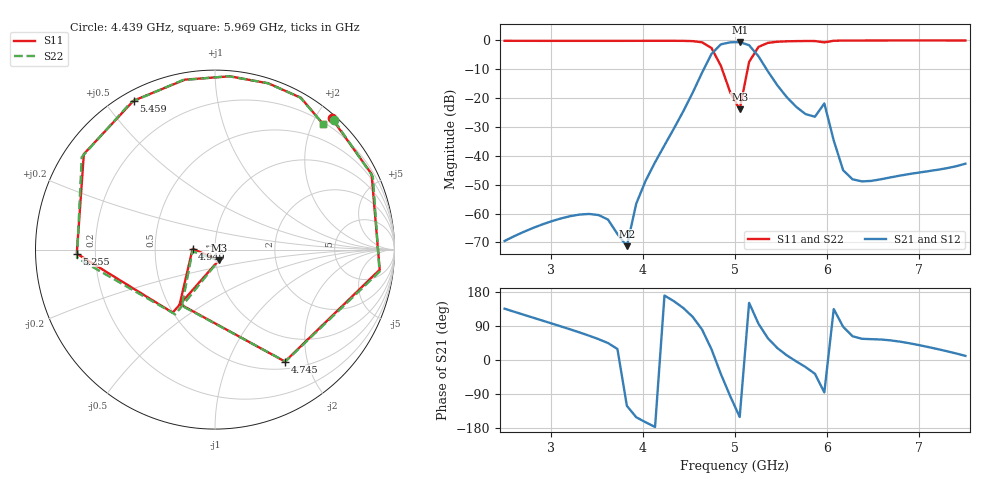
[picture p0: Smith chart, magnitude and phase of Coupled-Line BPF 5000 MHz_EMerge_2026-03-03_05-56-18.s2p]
! Generated by EMerge - 2-port S-parameters
! File generated: 2026-03-03 05:56
! --- Coupled-Line BPF 5000 MHz ---
! Substrate: RO4003C
! h = 0.508 mm
! W50 = 1.1 mm, Lfeed = 5 mm
! L1 = 8.93 mm, S1 = 0.103 mm, W1 = 0.76 mm
! L2 = 8.93 mm, S2 = 0.103 mm, W2 = 1.08 mm
! Run time = 2.12 min
# GHZ S RI R 50
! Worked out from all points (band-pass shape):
!   50 points, 2.5 GHz to 7.5 GHz, reference 50 ohm
!   highest |S21| = -0.62 dB at 5.051 GHz (marker M1); lowest = -71.3 dB at 3.827 GHz (marker M2)
!   |S21| within 3 dB of the highest: 4.778 GHz to 5.204 GHz (426.4 MHz wide, 8.54 % of centre)
!   lowest |S11| = -24.0 dB at 5.051 GHz (marker M3), VSWR 1.14, Z = 51.7 - j6.24 ohm
!   |S11| at or under -10 dB: 4.86 GHz to 5.137 GHz (277.6 MHz wide, 5.55 % of centre)
!   |S22| runs from -23.8 to 0.0 dB; largest |S21 - S12| = 0.00089
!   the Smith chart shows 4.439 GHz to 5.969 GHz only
!   S11 on the Smith chart (normalised r, x): 4.439 GHz: 0.06, +2.23; 4.745 GHz: 0.60, -1.64; 4.949 GHz: 0.78, +0.01; 5.255 GHz: 0.13, -0.01; 5.459 GHz: 0.04, +0.59; 5.969 GHz: 0.23, +2.17
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2.5  -0.783 -0.5908  -0.000239 0.000236  -0.000238 0.000236  -0.7865 -0.5862
3.010204  -0.9768 -0.0643  -8.29e-05 0.000732  -8.18e-05 0.000731  -0.9773 -0.0565
3.418367  -0.8854 0.4166  0.000432 0.000885  0.000433 0.000883  -0.8812 0.4255
3.622449  -0.7394 0.6415  0.000559 0.000552  0.000559 0.000549  -0.7321 0.6499
3.826531  -0.5186 0.831  -0.00014 -0.000234  -0.000143 -0.00024  -0.5079 0.8376
3.928571  -0.3781 0.9041  -0.0013 -0.000719  -0.00131 -0.000725  -0.3658 0.9093
4.234694  0.1762 0.9654  -0.015 0.00261  -0.015 0.00261  0.1918 0.9625
4.438776  0.6509 0.7307  -0.0434 0.0401  -0.0434 0.0401  0.6635 0.7196
4.642857  0.9177 -0.1117  0.0464 0.272  0.0464 0.2724  0.9167 -0.1228
4.744898  0.3901 -0.6237  0.5131 0.2761  0.5136 0.2764  0.3921 -0.6237
4.846939  -0.1964 -0.3035  0.6794 -0.5152  0.6802 -0.5157  -0.1843 -0.313
4.94898  -0.1248 0.00471  -0.0956 -0.9194  -0.0956 -0.9203  -0.1257 -0.00907
5.05102  0.0203 -0.0601  -0.8095 -0.4594  -0.8102 -0.4598  0.0205 -0.0613
5.153061  -0.2359 -0.3514  -0.7196 0.401  -0.7202 0.4014  -0.2216 -0.3608
5.255102  -0.7701 -0.0225  -0.051 0.5254  -0.051 0.5258  -0.7687 -0.0465
5.459184  -0.4536 0.8298  0.142 0.0873  0.1421 0.0874  -0.4673 0.8217
5.867347  0.4792 0.8454  0.0382 -0.0282  0.0381 -0.0282  0.4741 0.8482
5.969388  0.6039 0.6972  0.00624 -0.0805  0.00601 -0.0803  0.6008 0.7016
6.173469  0.8234 0.5488  0.000234 0.00562  0.000307 0.00562  0.8222 0.5504
6.377551  0.9513 0.2816  0.00202 0.00299  0.00205 0.00298  0.9509 0.2829
6.683673  0.9873 -0.1181  0.0026 0.00332  0.00262 0.00332  0.9874 -0.117
7.5  0.4574 -0.8809  0.00718 0.00138  0.00718 0.00139  0.4605 -0.8794
